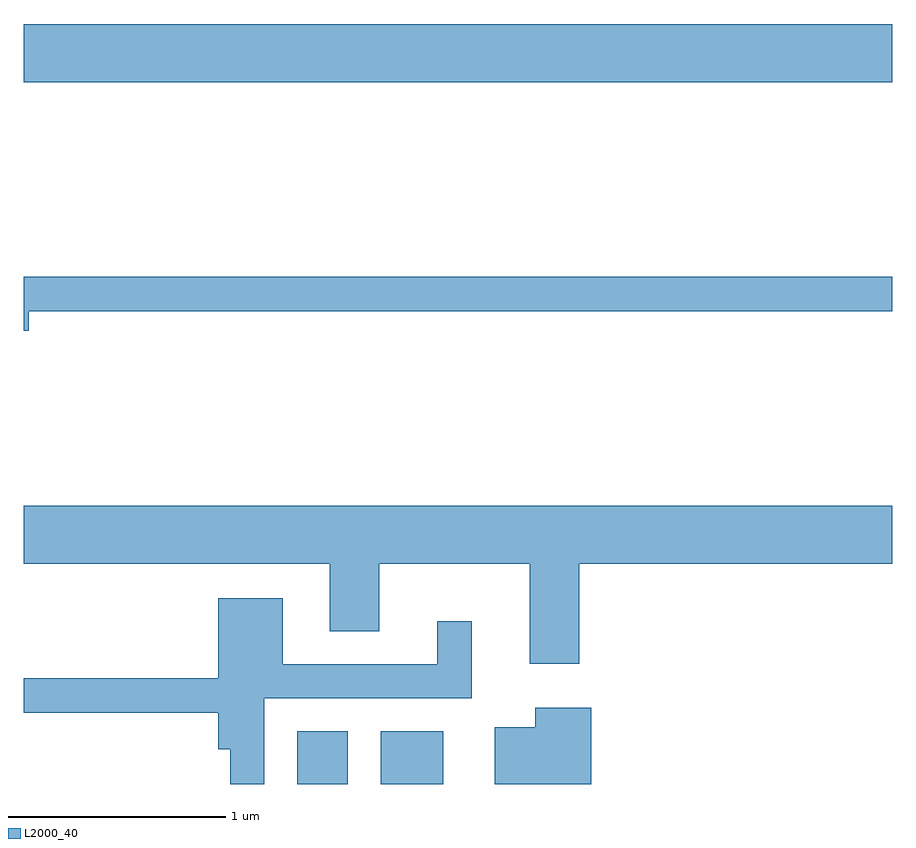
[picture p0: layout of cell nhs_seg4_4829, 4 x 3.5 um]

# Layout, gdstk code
import gdstk
lib = gdstk.Library(unit=1e-6, precision=1e-09)
def R(c, l, rs):  # rectangles x0, y0, x1, y1
    for r in rs: c.add(gdstk.rectangle(r[:2], r[2:], *l))
def P(c, l, *ps):  # polygons
    for p in ps: c.add(gdstk.Polygon(p, *l))
L2000_40 = (2000, 40)

nhs_seg4_4829 = lib.new_cell('nhs_seg4_4829')
R(nhs_seg4_4829, L2000_40, [(328.871,1255.982,329.104,1256.224), (329.256,1255.982,329.544,1256.224), (327.611,1259.216,331.611,1259.484)])
P(nhs_seg4_4829, L2000_40, [(327.634,1258.161),(331.611,1258.161),(331.611,1258.319),(327.611,1258.319),(327.611,1258.071),(327.634,1258.071)],
  [(330.169,1256.996),(331.611,1256.996),(331.611,1257.264),(327.611,1257.264),(327.611,1256.996),(329.021,1256.996),(329.021,1256.686),(329.249,1256.686),(329.249,1256.996),(329.941,1256.996),(329.941,1256.536),(330.169,1256.536)],
  [(328.719,1256.376),(329.674,1256.376),(329.674,1256.733),(329.516,1256.733),(329.516,1256.534),(328.804,1256.534),(328.804,1256.839),(328.506,1256.839),(328.506,1256.469),(327.611,1256.469),(327.611,1256.311),(328.506,1256.311),(328.506,1256.141),(328.561,1256.141),(328.561,1255.982),(328.719,1255.982)],
  [(330.224,1256.334),(329.966,1256.334),(329.966,1256.244),(329.781,1256.244),(329.781,1255.982),(330.224,1255.982)])

lib.write_gds('nhs_seg4_4829.gds')
